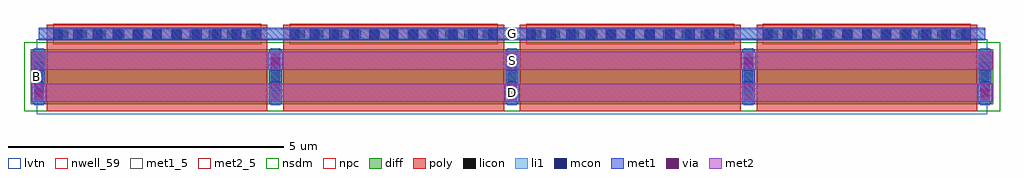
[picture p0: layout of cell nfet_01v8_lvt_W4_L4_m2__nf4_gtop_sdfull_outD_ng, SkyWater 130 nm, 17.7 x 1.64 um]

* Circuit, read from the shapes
.subckt nfet_01v8_lvt_W4_L4_m2__nf4_gtop_sdfull_outD_ng B D G S
XM1 S G D B sky130_fd_pr__nfet_01v8_lvt w=1 l=4 m=4
.ends

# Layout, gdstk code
import gdstk
lib = gdstk.Library(unit=1e-6, precision=1e-09)
def R(c, l, rs):  # rectangles x0, y0, x1, y1
    for r in rs: c.add(gdstk.rectangle(r[:2], r[2:], *l))
def A(c, l, x, y, w, h, nx, ny, dx, dy):  # array of equal rectangles
    R(c, l, [(x+i*dx, y+j*dy, x+i*dx+w, y+j*dy+h) for i in range(nx) for j in range(ny)])
nwell_59 = (64, 59)
diff = (65, 20)
poly = (66, 20)
licon = (66, 44)
li1 = (67, 20)
mcon = (67, 44)
met1_5 = (68, 5)
met1 = (68, 20)
via = (68, 44)
met2_5 = (69, 5)
met2 = (69, 20)
nsdm = (93, 44)
npc = (95, 20)
lvtn = (125, 44)

sky130_fd_pr__nfet_01v8_ = lib.new_cell('sky130_fd_pr__nfet_01v8_lvt_CWPRMG')
R(sky130_fd_pr__nfet_01v8_, diff, [(-8.725,-0.655,8.725,0.345)])
A(sky130_fd_pr__nfet_01v8_, poly, -8.435, -0.785, 4, 1.57, 4, 1, 4.29, 0)
A(sky130_fd_pr__nfet_01v8_, licon, -8.665, -0.58, 0.17, 0.17, 5, 3, 4.29, 0.34)
A(sky130_fd_pr__nfet_01v8_, licon, -8.22, 0.535, 0.17, 0.17, 11, 1, 0.34, 0)
A(sky130_fd_pr__nfet_01v8_, licon, -3.93, 0.535, 0.17, 0.17, 11, 1, 0.34, 0)
A(sky130_fd_pr__nfet_01v8_, licon, 0.36, 0.535, 0.17, 0.17, 11, 1, 0.34, 0)
A(sky130_fd_pr__nfet_01v8_, licon, 4.65, 0.535, 0.17, 0.17, 11, 1, 0.34, 0)
A(sky130_fd_pr__nfet_01v8_, li1, -8.665, -0.675, 0.17, 1.04, 5, 1, 4.29, 0)
R(sky130_fd_pr__nfet_01v8_, li1, [(-8.58,0.535,8.58,0.705)])
A(sky130_fd_pr__nfet_01v8_, mcon, -8.665, -0.42, 0.17, 0.17, 5, 2, 4.29, 0.36)
A(sky130_fd_pr__nfet_01v8_, mcon, -8.32, 0.535, 0.17, 0.17, 11, 1, 0.36, 0)
A(sky130_fd_pr__nfet_01v8_, mcon, -4.03, 0.535, 0.17, 0.17, 11, 1, 0.36, 0)
A(sky130_fd_pr__nfet_01v8_, mcon, 0.26, 0.535, 0.17, 0.17, 11, 1, 0.36, 0)
A(sky130_fd_pr__nfet_01v8_, mcon, 4.55, 0.535, 0.17, 0.17, 11, 1, 0.36, 0)
A(sky130_fd_pr__nfet_01v8_, met1, -8.695, -0.655, 0.23, 1, 5, 1, 4.29, 0)
A(sky130_fd_pr__nfet_01v8_, met1, -8.415, 0.505, 3.96, 0.03, 4, 2, 4.29, 0.2)
R(sky130_fd_pr__nfet_01v8_, met1, [(-8.58,0.535,8.58,0.705)])
R(sky130_fd_pr__nfet_01v8_, nsdm, [(-8.85,-0.78,8.85,0.47)])
A(sky130_fd_pr__nfet_01v8_, npc, -8.32, 0.435, 3.77, 0.37, 4, 1, 4.29, 0)
R(sky130_fd_pr__nfet_01v8_, lvtn, [(-8.615,-0.835,8.615,0.525)])
sky130_fd_pr__nfet_01v8_.add(gdstk.Label('D0', (-8.58,-0.155), layer=67, texttype=5))
sky130_fd_pr__nfet_01v8_.add(gdstk.Label('G', (6.435,0.62), layer=67, texttype=5))
sky130_fd_pr__nfet_01v8_.add(gdstk.Label('G', (2.145,0.62), layer=67, texttype=5))
sky130_fd_pr__nfet_01v8_.add(gdstk.Label('G', (-2.145,0.62), layer=67, texttype=5))
sky130_fd_pr__nfet_01v8_.add(gdstk.Label('G', (-6.435,0.62), layer=67, texttype=5))
sky130_fd_pr__nfet_01v8_.add(gdstk.Label('S1', (-4.29,-0.155), layer=67, texttype=5))
sky130_fd_pr__nfet_01v8_.add(gdstk.Label('D2', (0,-0.155), layer=67, texttype=5))
sky130_fd_pr__nfet_01v8_.add(gdstk.Label('S3', (4.29,-0.155), layer=67, texttype=5))

nfet_01v8_lvt_w4_l4_m2__ = lib.new_cell('nfet_01v8_lvt_W4_L4_m2__nf4_gtop_sdfull_outD_ng')
R(nfet_01v8_lvt_w4_l4_m2__, nwell_59, [(0.05,0.58,0.15,0.68)])
R(nfet_01v8_lvt_w4_l4_m2__, met1_5, [(0.145,1.29,17.305,1.52)])
A(nfet_01v8_lvt_w4_l4_m2__, met1, 0.015, 0.18, 0.26, 0.32, 3, 1, 8.58, 0)
R(nfet_01v8_lvt_w4_l4_m2__, met1, [(4.305,0.76,4.565,1.08), (12.885,0.76,13.145,1.08), (0.145,1.29,17.305,1.52)])
A(nfet_01v8_lvt_w4_l4_m2__, via, 0.07, 0.265, 0.15, 0.15, 3, 1, 8.58, 0)
R(nfet_01v8_lvt_w4_l4_m2__, via, [(4.36,0.845,4.51,0.995), (12.94,0.845,13.09,0.995)])
R(nfet_01v8_lvt_w4_l4_m2__, met2_5, [(0.01,0.18,17.44,0.5), (0.01,0.76,17.44,1.08)])
R(nfet_01v8_lvt_w4_l4_m2__, met2, [(0.01,0.18,17.44,0.5), (0.01,0.76,17.44,1.08)])
nfet_01v8_lvt_w4_l4_m2__.add(gdstk.Reference(sky130_fd_pr__nfet_01v8_, (8.725,0.785)))
nfet_01v8_lvt_w4_l4_m2__.add(gdstk.Label('S', (8.725,0.92), layer=69, texttype=5))
nfet_01v8_lvt_w4_l4_m2__.add(gdstk.Label('D', (8.725,0.34), layer=69, texttype=5))
nfet_01v8_lvt_w4_l4_m2__.add(gdstk.Label('G', (8.725,1.405), layer=68, texttype=5))
nfet_01v8_lvt_w4_l4_m2__.add(gdstk.Label('B', (0.1,0.63), layer=64, texttype=59))

lib.write_gds('nfet_01v8_lvt_W4_L4_m2__nf4_gtop_sdfull_outD_ng.gds')
